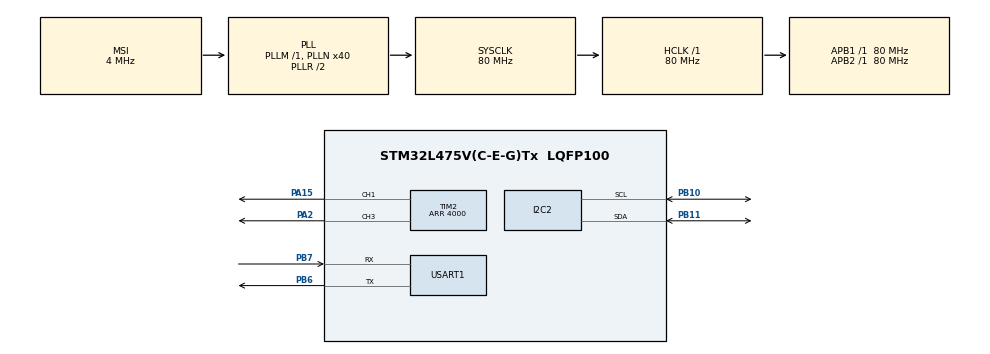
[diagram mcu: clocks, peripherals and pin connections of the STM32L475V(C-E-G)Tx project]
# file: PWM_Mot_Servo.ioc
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I2C2.Timing=0x10D19CE4
Mcu.Family=STM32L4
Mcu.Name=STM32L475V(C-E-G)Tx
Mcu.Package=LQFP100
NVIC.PriorityGroup=NVIC_PRIORITYGROUP_4
PA15\ (JTDI).Signal=S_TIM2_CH1
PA2.Signal=S_TIM2_CH3
PB1.Signal=S_TIM3_CH4
PB10.Mode=I2C
PB10.Signal=I2C2_SCL
PB11.Mode=I2C
PB11.Signal=I2C2_SDA
PB6.Mode=Asynchronous
PB6.Signal=USART1_TX
PB7.Mode=Asynchronous
PB7.Signal=USART1_RX
ProjectManager.HeapSize=0x200
ProjectManager.StackSize=0x400
ProjectManager.TargetToolchain=STM32CubeIDE
RCC.AHBFreq_Value=80000000
RCC.APB1Freq_Value=80000000
RCC.APB1TimFreq_Value=80000000
RCC.APB2Freq_Value=80000000
RCC.APB2TimFreq_Value=80000000
RCC.CortexFreq_Value=80000000
RCC.HCLKFreq_Value=80000000
RCC.HSE_VALUE=8000000
RCC.HSI_VALUE=16000000
RCC.LSE_VALUE=32768
RCC.MSI_VALUE=4000000
RCC.PLLN=40
RCC.SYSCLKFreq_VALUE=80000000
RCC.SYSCLKSource=RCC_SYSCLKSOURCE_PLLCLK
RCC.VCOOutputFreq_Value=160000000
SH.S_TIM2_CH1.0=TIM2_CH1,PWM Generation1 CH1
SH.S_TIM2_CH3.0=TIM2_CH3,PWM Generation3 CH3
SH.S_TIM3_CH4.0=TIM3_CH4
TIM2.Channel-PWM\ Generation1\ CH1=TIM_CHANNEL_1
TIM2.Channel-PWM\ Generation3\ CH3=TIM_CHANNEL_3
TIM2.Period=4000
USART1.VirtualMode-Asynchronous=VM_ASYNC
board=custom

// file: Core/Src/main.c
/* USER CODE BEGIN Header */
/**
  ******************************************************************************
  * @file           : main.c
  * @brief          : Main program body
  ******************************************************************************
  * @attention
  *
  * Copyright (c) 2025 STMicroelectronics.
  * All rights reserved.
  *
  * This software is licensed under terms that can be found in the LICENSE file
  * in the root directory of this software component.
  * If no LICENSE file comes with this software, it is provided AS-IS.
  *
  ******************************************************************************
  */
/* USER CODE END Header */
#include "main.h"

I2C_HandleTypeDef hi2c2;

TIM_HandleTypeDef htim2;

UART_HandleTypeDef huart1;

void SystemClock_Config(void);
static void MX_GPIO_Init(void);
static void MX_TIM2_Init(void);
static void MX_USART1_UART_Init(void);
static void MX_I2C2_Init(void);

/* USER CODE BEGIN 0 */
void setMotorSpeed (int16_t speed) {
	if (speed >= 0) {
		__HAL_TIM_SET_COMPARE(&htim2, TIM_CHANNEL_1, speed);
		__HAL_TIM_SET_COMPARE(&htim2, TIM_CHANNEL_3, 0);
	} else {
		__HAL_TIM_SET_COMPARE(&htim2, TIM_CHANNEL_1, 0);
		__HAL_TIM_SET_COMPARE(&htim2, TIM_CHANNEL_3, speed);
	}
}

void LSM6DSL_Init(void) {
	HAL_I2C_Mem_Write(&hi2c2, 0xD4, 0x10, I2C_MEMADD_SIZE_8BIT, (uint8_t[]){0x40}, 1, 1000);
}

int16_t LSM6DSL_ReadAccel(uint8_t axxis) {
	return 0x28 * (2*axxis);
}
/* USER CODE END 0 */

int main(void)
{

  /* MCU Configuration--------------------------------------------------------*/

  /* Reset of all peripherals, Initializes the Flash interface and the Systick. */
  HAL_Init();

  /* Configure the system clock */
  SystemClock_Config();

  /* Initialize all configured peripherals */
  MX_GPIO_Init();
  MX_TIM2_Init();
  MX_USART1_UART_Init();
  MX_I2C2_Init();
  /* USER CODE BEGIN 2 */
  HAL_TIM_PWM_Start(&htim2, TIM_CHANNEL_3);
  HAL_TIM_PWM_Start(&htim2, TIM_CHANNEL_1);

  /* USER CODE END 2 */

  /* Infinite loop */
  /* USER CODE BEGIN WHILE */
  while (1)
  {
	  //int16_t th;
    /* USER CODE END WHILE */

    /* USER CODE BEGIN 3 */
	  setMotorSpeed(4000);
	  HAL_Delay(1000);
	  setMotorSpeed(-4000);
	  HAL_Delay(1000);
  }
  /* USER CODE END 3 */
}

void SystemClock_Config(void)
{
  RCC_OscInitTypeDef RCC_OscInitStruct = {0};
  RCC_ClkInitTypeDef RCC_ClkInitStruct = {0};

  /** Configure the main internal regulator output voltage
  */
  if (HAL_PWREx_ControlVoltageScaling(PWR_REGULATOR_VOLTAGE_SCALE1) != HAL_OK)
  {
    Error_Handler();
  }

  /** Initializes the RCC Oscillators according to the specified parameters
  * in the RCC_OscInitTypeDef structure.
  */
  RCC_OscInitStruct.OscillatorType = RCC_OSCILLATORTYPE_MSI;
  RCC_OscInitStruct.MSIState = RCC_MSI_ON;
  RCC_OscInitStruct.MSICalibrationValue = 0;
  RCC_OscInitStruct.MSIClockRange = RCC_MSIRANGE_6;
  RCC_OscInitStruct.PLL.PLLState = RCC_PLL_ON;
  RCC_OscInitStruct.PLL.PLLSource = RCC_PLLSOURCE_MSI;
  RCC_OscInitStruct.PLL.PLLM = 1;
  RCC_OscInitStruct.PLL.PLLN = 40;
  RCC_OscInitStruct.PLL.PLLP = RCC_PLLP_DIV7;
  RCC_OscInitStruct.PLL.PLLQ = RCC_PLLQ_DIV2;
  RCC_OscInitStruct.PLL.PLLR = RCC_PLLR_DIV2;
  if (HAL_RCC_OscConfig(&RCC_OscInitStruct) != HAL_OK)
  {
    Error_Handler();
  }

  /** Initializes the CPU, AHB and APB buses clocks
  */
  RCC_ClkInitStruct.ClockType = RCC_CLOCKTYPE_HCLK|RCC_CLOCKTYPE_SYSCLK
                              |RCC_CLOCKTYPE_PCLK1|RCC_CLOCKTYPE_PCLK2;
  RCC_ClkInitStruct.SYSCLKSource = RCC_SYSCLKSOURCE_PLLCLK;
  RCC_ClkInitStruct.AHBCLKDivider = RCC_SYSCLK_DIV1;
  RCC_ClkInitStruct.APB1CLKDivider = RCC_HCLK_DIV1;
  RCC_ClkInitStruct.APB2CLKDivider = RCC_HCLK_DIV1;

  if (HAL_RCC_ClockConfig(&RCC_ClkInitStruct, FLASH_LATENCY_4) != HAL_OK)
  {
    Error_Handler();
  }
}

static void MX_I2C2_Init(void)
{

  hi2c2.Instance = I2C2;
  hi2c2.Init.Timing = 0x10D19CE4;
  hi2c2.Init.OwnAddress1 = 0;
  hi2c2.Init.AddressingMode = I2C_ADDRESSINGMODE_7BIT;
  hi2c2.Init.DualAddressMode = I2C_DUALADDRESS_DISABLE;
  hi2c2.Init.OwnAddress2 = 0;
  hi2c2.Init.OwnAddress2Masks = I2C_OA2_NOMASK;
  hi2c2.Init.GeneralCallMode = I2C_GENERALCALL_DISABLE;
  hi2c2.Init.NoStretchMode = I2C_NOSTRETCH_DISABLE;
  if (HAL_I2C_Init(&hi2c2) != HAL_OK)
  {
    Error_Handler();
  }

  /** Configure Analogue filter
  */
  if (HAL_I2CEx_ConfigAnalogFilter(&hi2c2, I2C_ANALOGFILTER_ENABLE) != HAL_OK)
  {
    Error_Handler();
  }

  /** Configure Digital filter
  */
  if (HAL_I2CEx_ConfigDigitalFilter(&hi2c2, 0) != HAL_OK)
  {
    Error_Handler();
  }

}

static void MX_TIM2_Init(void)
{

  TIM_MasterConfigTypeDef sMasterConfig = {0};
  TIM_OC_InitTypeDef sConfigOC = {0};

  htim2.Instance = TIM2;
  htim2.Init.Prescaler = 0;
  htim2.Init.CounterMode = TIM_COUNTERMODE_UP;
  htim2.Init.Period = 4000;
  htim2.Init.ClockDivision = TIM_CLOCKDIVISION_DIV1;
  htim2.Init.AutoReloadPreload = TIM_AUTORELOAD_PRELOAD_DISABLE;
  if (HAL_TIM_PWM_Init(&htim2) != HAL_OK)
  {
    Error_Handler();
  }
  sMasterConfig.MasterOutputTrigger = TIM_TRGO_RESET;
  sMasterConfig.MasterSlaveMode = TIM_MASTERSLAVEMODE_DISABLE;
  if (HAL_TIMEx_MasterConfigSynchronization(&htim2, &sMasterConfig) != HAL_OK)
  {
    Error_Handler();
  }
  sConfigOC.OCMode = TIM_OCMODE_PWM1;
  sConfigOC.Pulse = 0;
  sConfigOC.OCPolarity = TIM_OCPOLARITY_HIGH;
  sConfigOC.OCFastMode = TIM_OCFAST_DISABLE;
  if (HAL_TIM_PWM_ConfigChannel(&htim2, &sConfigOC, TIM_CHANNEL_1) != HAL_OK)
  {
    Error_Handler();
  }
  if (HAL_TIM_PWM_ConfigChannel(&htim2, &sConfigOC, TIM_CHANNEL_3) != HAL_OK)
  {
    Error_Handler();
  }
  HAL_TIM_MspPostInit(&htim2);

}

static void MX_USART1_UART_Init(void)
{

  huart1.Instance = USART1;
  huart1.Init.BaudRate = 115200;
  huart1.Init.WordLength = UART_WORDLENGTH_8B;
  huart1.Init.StopBits = UART_STOPBITS_1;
  huart1.Init.Parity = UART_PARITY_NONE;
  huart1.Init.Mode = UART_MODE_TX_RX;
  huart1.Init.HwFlowCtl = UART_HWCONTROL_NONE;
  huart1.Init.OverSampling = UART_OVERSAMPLING_16;
  huart1.Init.OneBitSampling = UART_ONE_BIT_SAMPLE_DISABLE;
  huart1.AdvancedInit.AdvFeatureInit = UART_ADVFEATURE_NO_INIT;
  if (HAL_UART_Init(&huart1) != HAL_OK)
  {
    Error_Handler();
  }

}

static void MX_GPIO_Init(void)
{
  GPIO_InitTypeDef GPIO_InitStruct = {0};

  /* GPIO Ports Clock Enable */
  __HAL_RCC_GPIOA_CLK_ENABLE();
  __HAL_RCC_GPIOB_CLK_ENABLE();

  /*Configure GPIO pin : PB1 */
  GPIO_InitStruct.Pin = GPIO_PIN_1;
  GPIO_InitStruct.Mode = GPIO_MODE_AF_PP;
  GPIO_InitStruct.Pull = GPIO_NOPULL;
  GPIO_InitStruct.Speed = GPIO_SPEED_FREQ_LOW;
  GPIO_InitStruct.Alternate = GPIO_AF2_TIM3;
  HAL_GPIO_Init(GPIOB, &GPIO_InitStruct);

}

void Error_Handler(void)
{
  __disable_irq();
  while (1)
  {
  }
}
